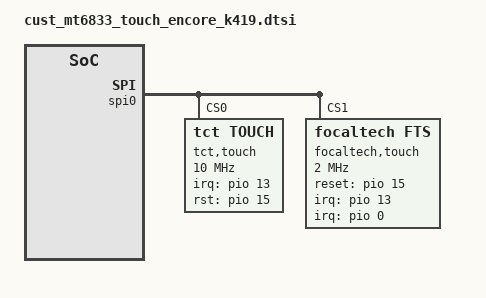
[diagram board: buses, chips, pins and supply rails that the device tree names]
/* TOUCH start */

&spi0 {
	#address-cells = <1>;
	#size-cells = <0>;
	status = "okay";
    mediatek,pad-select = <0>, <1>;
	
	tct,touch@0{
		status = "okay";
		compatible = "tct,touch";
		reg = <0>;
		chipone,irq-gpio = <&pio 13 0x00>;
		chipone,rst-gpio = <&pio 15 0x00>;

		chipone,x-res = <720>;
		chipone,y-res = <1612>;

		spi-max-frequency = <10000000>;

		chipone,test-reset-pin;
		chipone,test-rawdata;
		chipone,test-rawdata-frames = <1>;
		chipone,rawdata-min = <1202>;
		chipone,rawdata-max = <2903>;
		chipone,test-noise;
		chipone,test-noise-frames = <30>;
		chipone,noise-max = <79>;
		chipone,test-open;
		chipone,open-min = <1980>;
		chipone,test-short;
		chipone,short-min = <1500>;
		chipone,test-compensate-cap;
		chipone,compensate-cap-min = <1>;
		chipone,compensate-cap-max = <126>;
	};
	
    focaltech,touch@0 {
        status = "okay";
            compatible = "focaltech,fts";
            reg = <0x1>;
            interrupt-parent = <&pio>;
            interrupts = <0 IRQ_TYPE_EDGE_FALLING 0 0>;          
            spi-max-frequency = <2000000>;
	    focaltech,reset-gpio = <&pio 15 0x00>; 
	    focaltech,irq-gpio = <&pio 13 0x0>; 	
            focaltech,max-touch-number = <10>;			
	    focaltech,display-coords =  <0 0 720 1612>;
    };
	
};
/* TOUCH end */


